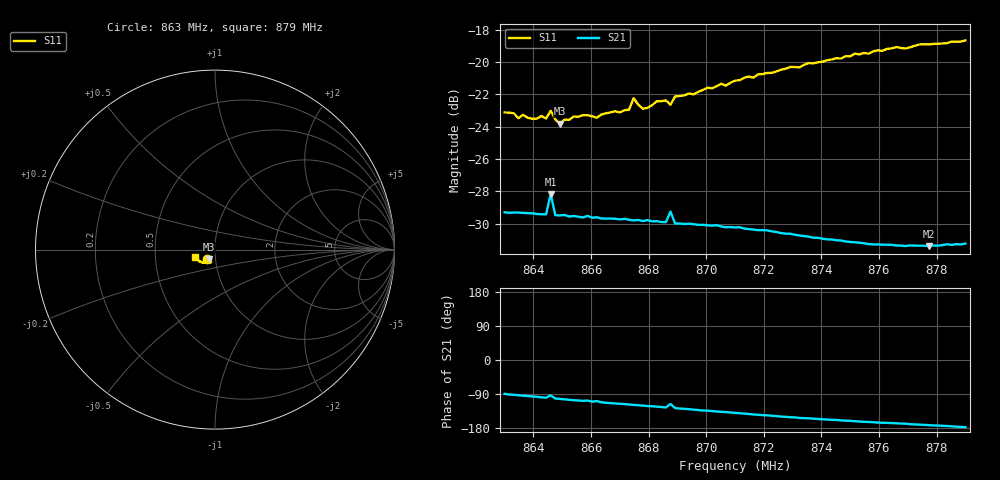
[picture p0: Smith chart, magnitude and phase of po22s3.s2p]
# HZ S RI R 50
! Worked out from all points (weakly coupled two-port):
!   101 points, 863 MHz to 879 MHz, reference 50 ohm
!   highest |S21| = -28.16 dB at 864.6 MHz (marker M1); lowest = -31.4 dB at 877.72 MHz (marker M2)
!   lowest |S11| = -23.8 dB at 864.92 MHz (marker M3), VSWR 1.14, Z = 46.4 - j5.08 ohm
!   |S11| at or under -10 dB: start of sweep to end of sweep
!   S12 and S22 are empty: the file has one direction only
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8.63e8  -0.0448 -0.0536  0.000496 -0.0343  0 0  0 0
8.6332e8  -0.0436 -0.054  -0.00108 -0.0342  0 0  0 0
8.6348e8  -0.0409 -0.0531  -0.00181 -0.0342  0 0  0 0
8.6364e8  -0.0418 -0.0545  -0.00246 -0.0341  0 0  0 0
8.6444e8  -0.0383 -0.0549  -0.0056 -0.0333  0 0  0 0
8.646e8  -0.0265 -0.0655  -0.0024 -0.039  0 0  0 0
8.6476e8  -0.0373 -0.055  -0.0068 -0.0329  0 0  0 0
8.6492e8  -0.0343 -0.0545  -0.00734 -0.0327  0 0  0 0
8.6572e8  -0.0358 -0.0584  -0.0101 -0.0315  0 0  0 0
8.662e8  -0.0332 -0.0585  -0.0105 -0.0314  0 0  0 0
8.6732e8  -0.0363 -0.0613  -0.015 -0.0289  0 0  0 0
8.6748e8  -0.0445 -0.0632  -0.0155 -0.0285  0 0  0 0
8.678e8  -0.0356 -0.0623  -0.0162 -0.0278  0 0  0 0
8.6844e8  -0.037 -0.066  -0.0179 -0.0265  0 0  0 0
8.686e8  -0.0367 -0.0667  -0.0185 -0.0261  0 0  0 0
8.6876e8  -0.0213 -0.0706  -0.0151 -0.031  0 0  0 0
8.6892e8  -0.0382 -0.0684  -0.019 -0.0254  0 0  0 0
8.71e8  -0.0485 -0.0729  -0.0234 -0.02  0 0  0 0
8.7372e8  -0.0676 -0.0724  -0.0259 -0.0122  0 0  0 0
8.7644e8  -0.0918 -0.0609  -0.0265 -0.00636  0 0  0 0
8.7772e8  -0.1003 -0.0528  -0.0267 -0.00391  0 0  0 0
8.79e8  -0.1096 -0.0398  -0.0274 -0.00135  0 0  0 0
